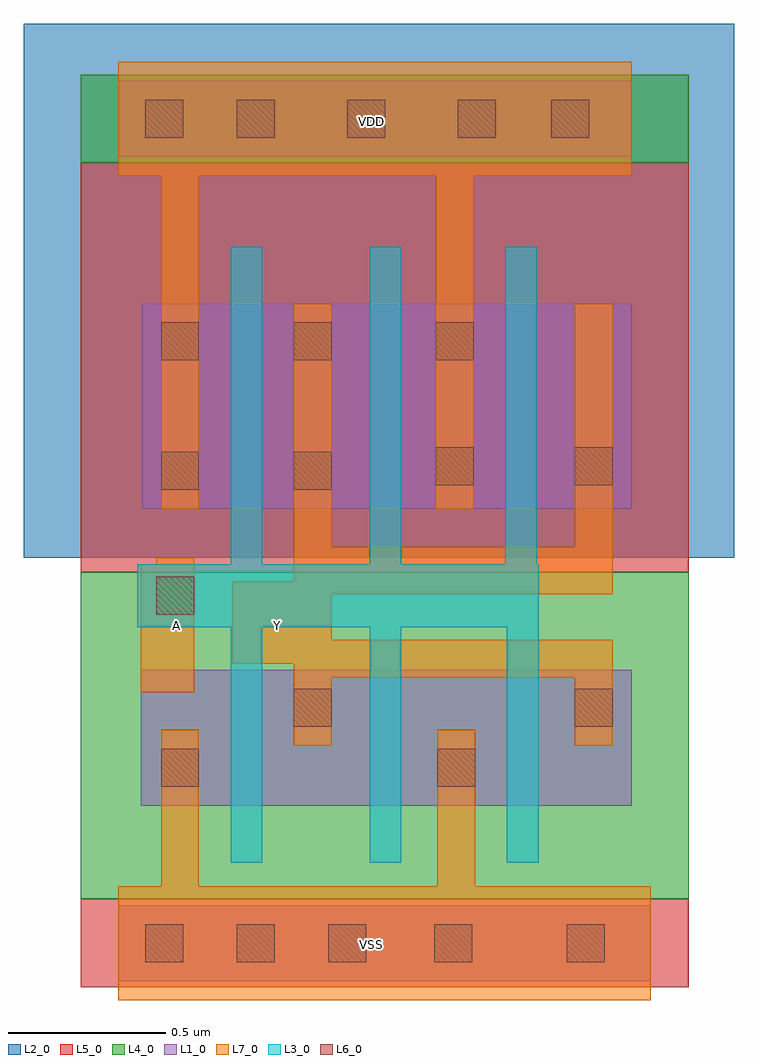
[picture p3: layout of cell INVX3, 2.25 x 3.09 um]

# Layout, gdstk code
import gdstk
lib = gdstk.Library(unit=1e-6, precision=1e-09)
def R(c, l, rs):  # rectangles x0, y0, x1, y1
    for r in rs: c.add(gdstk.rectangle(r[:2], r[2:], *l))
def A(c, l, x, y, w, h, nx, ny, dx, dy):  # array of equal rectangles
    R(c, l, [(x+i*dx, y+j*dy, x+i*dx+w, y+j*dy+h) for i in range(nx) for j in range(ny)])
L1_0 = (1, 0)
L2_0 = (2, 0)
L3_0 = (3, 0)
L4_0 = (4, 0)
L5_0 = (5, 0)
L6_0 = (6, 0)
L7_0 = (7, 0)

invx3 = lib.new_cell('INVX3')
R(invx3, L1_0, [(0.675,-0.25,2.36,-0.01), (0.745,0.305,2.3,0.735), (0.75,1.245,2.3,1.895), (0.675,2.36,2.3,2.6)])
R(invx3, L2_0, [(0.375,1.09,2.625,2.78)])
R(invx3, L3_0, [(1.03,0.125,1.13,0.87), (1.47,0.125,1.57,0.87), (1.905,0.125,2.005,0.87), (0.735,0.87,2.005,1.07), (1.03,1.07,1.13,2.075), (1.47,1.07,1.57,2.075), (1.9,1.07,2,2.075)])
R(invx3, L4_0, [(0.555,0.01,2.48,1.045), (0.555,2.34,2.48,2.62)])
R(invx3, L5_0, [(0.555,-0.27,2.48,0.01), (0.555,1.045,2.48,2.34)])
A(invx3, L6_0, 0.76, -0.19, 0.12, 0.12, 3, 1, 0.29, 0)
A(invx3, L6_0, 1.05, 2.42, 0.12, 0.12, 3, 1, 0.35, 0)
R(invx3, L6_0, [(1.675,-0.19,1.795,-0.07), (2.095,-0.19,2.215,-0.07), (0.81,0.365,0.93,0.485), (1.685,0.365,1.805,0.485), (1.23,0.555,1.35,0.675), (2.12,0.555,2.24,0.675), (0.795,0.91,0.915,1.03), (0.81,1.305,0.93,1.425), (1.23,1.305,1.35,1.425), (1.68,1.32,1.8,1.44), (2.12,1.32,2.24,1.44), (0.81,1.715,0.93,1.835), (1.23,1.715,1.35,1.835), (1.68,1.715,1.8,1.835), (0.76,2.42,0.88,2.54), (2.045,2.42,2.165,2.54)])
R(invx3, L7_0, [(0.675,-0.31,2.36,0.05), (0.81,0.05,0.93,0.545), (1.685,0.05,1.805,0.545), (1.23,0.495,1.35,0.755), (2.12,0.495,2.24,0.755), (0.745,0.665,0.915,1.07), (1.035,0.755,1.35,1.015), (1.23,1.015,1.35,1.895), (2.12,1.015,2.24,1.895), (0.795,1.07,0.915,1.09), (0.81,1.245,0.93,2.3), (1.68,1.245,1.8,2.3), (0.675,2.3,2.3,2.66)])
invx3.add(gdstk.FlexPath([(1.35,0.77),(2.24,0.77)], 0.12, ends="flush", simple_path=True, layer=7, datatype=0))  # L7_0
invx3.add(gdstk.FlexPath([(1.23,1.05),(2.24,1.05)], 0.15, ends="flush", simple_path=True, layer=7, datatype=0))  # L7_0
invx3.add(gdstk.Label('Y', (1.18,0.875), layer=7, texttype=251))
invx3.add(gdstk.Label('A', (0.86,0.875), layer=7, texttype=251))
invx3.add(gdstk.Label('VSS', (1.475,-0.135), layer=7, texttype=251))
invx3.add(gdstk.Label('VDD', (1.475,2.47), layer=7, texttype=251))

lib.write_gds('INVX3.gds')
